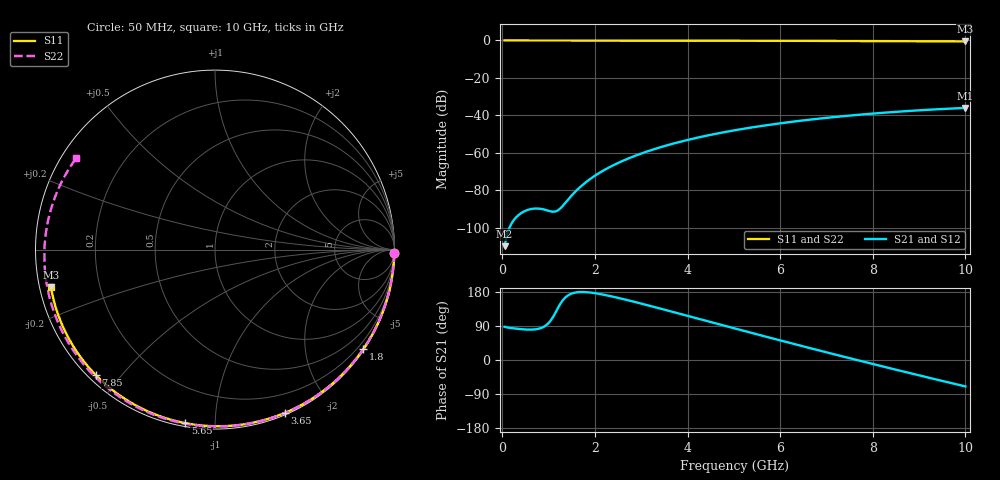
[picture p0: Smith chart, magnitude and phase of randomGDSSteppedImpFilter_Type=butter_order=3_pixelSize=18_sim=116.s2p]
! freq	dB(S11)	phase(S11)	dB(S12)	phase(S12)
!  dB(S21)	phase(S21)	dB(S22)	phase(S22)
!S-par simulation data
#  GHz  S  DB  R 50
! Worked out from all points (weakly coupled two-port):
!   200 points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, 50 MHz to 10 GHz, reference 50 ohm
!   highest |S21| = -36.04 dB at 10 GHz (marker M1); lowest = -109.9 dB at 50 MHz (marker M2)
!   lowest |S11| = -0.6 dB at 10 GHz (marker M3), VSWR 31.26, Z = 1.62 - j5.67 ohm
!   |S11| at or under -10 dB: nowhere
!   |S22| runs from -0.7 to 0.0 dB; largest |S21 - S12| = 0
!   S11 on the Smith chart (normalised r, x): 50 MHz: open; 1.8 GHz: 0.03, -3.28; 3.65 GHz: 0.02, -1.51; 5.65 GHz: 0.02, -0.84; 7.85 GHz: 0.02, -0.43; 10 GHz: 0.03, -0.11
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0.05  -0.00 -0.9  -109.89 87.6  -109.89 87.6  -0.00 -1.2
0.45  -0.01 -8.6  -91.59 80.9  -91.59 80.9  -0.02 -11.0
0.8  -0.02 -15.2  -89.85 82.9  -89.85 82.9  -0.03 -19.5
1.6  -0.04 -30.2  -80.19 178.5  -80.19 178.5  -0.05 -38.6
1.75  -0.04 -33.0  -76.83 179.4  -76.83 179.4  -0.05 -42.1
1.8  -0.04 -33.9  -75.83 179.1  -75.83 179.1  -0.06 -43.3
2.1  -0.05 -39.4  -70.69 174.3  -70.69 174.3  -0.06 -50.2
2.5  -0.06 -46.7  -65.45 164.0  -65.45 164.0  -0.08 -59.3
2.9  -0.07 -53.8  -61.31 152.0  -61.31 152.0  -0.09 -68.2
3.4  -0.08 -62.6  -57.15 136.1  -57.15 136.1  -0.10 -79.1
3.65  -0.09 -66.9  -55.38 128.0  -55.38 128.0  -0.11 -84.4
4.35  -0.11 -78.7  -51.19 105.1  -51.19 105.1  -0.14 -98.9
5.05  -0.14 -90.1  -47.85 82.3  -47.85 82.3  -0.17 -113.0
5.65  -0.17 -99.7  -45.48 62.9  -45.48 62.9  -0.20 -124.7
6.7  -0.23 -116.0  -42.14 29.6  -42.14 29.6  -0.28 -145.0
7.3  -0.27 -125.2  -40.60 10.9  -40.60 10.9  -0.32 -156.6
7.85  -0.32 -133.6  -39.37 -5.9  -39.37 -5.9  -0.38 -167.4
8.35  -0.36 -141.2  -38.40 -21.1  -38.40 -21.1  -0.43 -177.4
8.8  -0.41 -148.1  -37.63 -34.6  -37.63 -34.6  -0.48 173.3
9.2  -0.45 -154.3  -37.02 -46.4  -37.02 -46.4  -0.53 164.8
9.6  -0.50 -160.6  -36.49 -58.1  -36.49 -58.1  -0.60 155.9
10  -0.56 -167.0  -36.04 -69.7  -36.04 -69.7  -0.67 146.6
